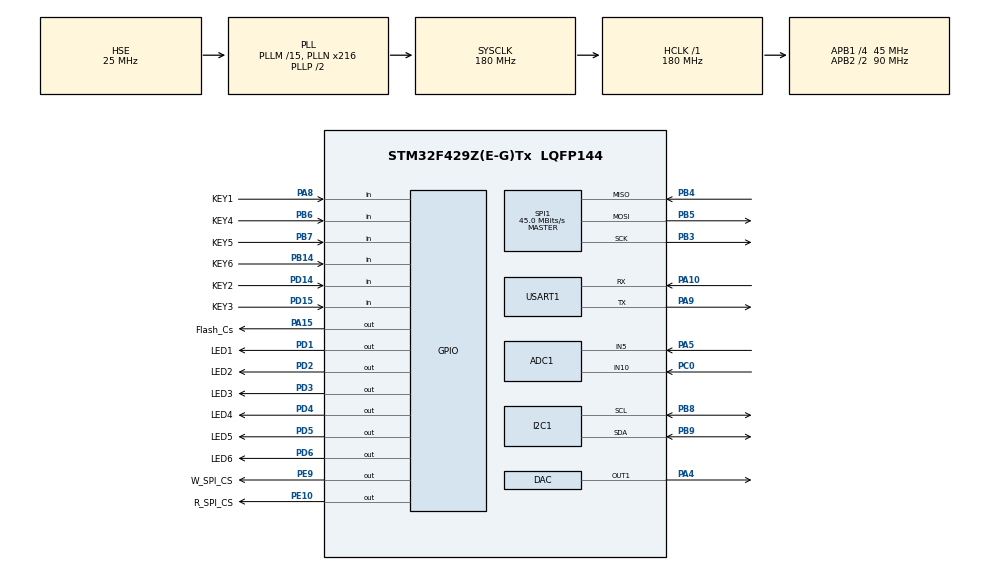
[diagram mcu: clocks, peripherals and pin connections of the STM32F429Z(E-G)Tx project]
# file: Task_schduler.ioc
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ADC1.Channel-1\#ChannelRegularConversion=ADC_CHANNEL_10
ADC1.Channel-2\#ChannelRegularConversion=ADC_CHANNEL_5
ADC1.ContinuousConvMode=DISABLE
ADC1.DMAContinuousRequests=DISABLE
ADC1.ExternalTrigConv=ADC_EXTERNALTRIGCONV_T3_TRGO
ADC1.InjNumberOfConversion=0
ADC1.NbrOfConversion=2
ADC1.NbrOfConversionFlag=1
ADC1.Rank-1\#ChannelRegularConversion=1
ADC1.Rank-2\#ChannelRegularConversion=2
ADC1.SamplingTime-1\#ChannelRegularConversion=ADC_SAMPLETIME_3CYCLES
ADC1.SamplingTime-2\#ChannelRegularConversion=ADC_SAMPLETIME_3CYCLES
ADC1.master=1
DAC.DAC_Trigger=DAC_TRIGGER_T6_TRGO
Dma.ADC1.1.Direction=DMA_PERIPH_TO_MEMORY
Dma.ADC1.1.FIFOMode=DMA_FIFOMODE_DISABLE
Dma.ADC1.1.Instance=DMA2_Stream0
Dma.ADC1.1.MemDataAlignment=DMA_MDATAALIGN_WORD
Dma.ADC1.1.MemInc=DMA_MINC_ENABLE
Dma.ADC1.1.Mode=DMA_NORMAL
Dma.ADC1.1.PeriphDataAlignment=DMA_PDATAALIGN_WORD
Dma.ADC1.1.PeriphInc=DMA_PINC_DISABLE
Dma.ADC1.1.Priority=DMA_PRIORITY_MEDIUM
Dma.DAC1.2.Direction=DMA_MEMORY_TO_PERIPH
Dma.DAC1.2.FIFOMode=DMA_FIFOMODE_DISABLE
Dma.DAC1.2.Instance=DMA1_Stream5
Dma.DAC1.2.MemDataAlignment=DMA_MDATAALIGN_HALFWORD
Dma.DAC1.2.MemInc=DMA_MINC_ENABLE
Dma.DAC1.2.Mode=DMA_CIRCULAR
Dma.DAC1.2.PeriphDataAlignment=DMA_PDATAALIGN_HALFWORD
Dma.DAC1.2.PeriphInc=DMA_PINC_DISABLE
Dma.DAC1.2.Priority=DMA_PRIORITY_HIGH
Dma.Request0=USART1_RX
Dma.Request1=ADC1
Dma.Request2=DAC1
Dma.USART1_RX.0.Direction=DMA_PERIPH_TO_MEMORY
Dma.USART1_RX.0.FIFOMode=DMA_FIFOMODE_DISABLE
Dma.USART1_RX.0.Instance=DMA2_Stream2
Dma.USART1_RX.0.MemDataAlignment=DMA_MDATAALIGN_BYTE
Dma.USART1_RX.0.MemInc=DMA_MINC_ENABLE
Dma.USART1_RX.0.Mode=DMA_NORMAL
Dma.USART1_RX.0.PeriphDataAlignment=DMA_PDATAALIGN_BYTE
Dma.USART1_RX.0.PeriphInc=DMA_PINC_DISABLE
Dma.USART1_RX.0.Priority=DMA_PRIORITY_HIGH
I2C1.I2C_Mode=I2C_Fast
Mcu.Family=STM32F4
Mcu.Name=STM32F429Z(E-G)Tx
Mcu.Package=LQFP144
NVIC.ADC_IRQn=true\:0\:0\:false\:false\:true\:true\:true\:true
NVIC.DMA1_Stream5_IRQn=true\:0\:0\:false\:false\:true\:false\:true\:true
NVIC.DMA2_Stream0_IRQn=true\:0\:0\:false\:false\:true\:false\:true\:true
NVIC.DMA2_Stream2_IRQn=true\:0\:0\:false\:false\:true\:false\:true\:true
NVIC.PriorityGroup=NVIC_PRIORITYGROUP_4
NVIC.TIM2_IRQn=true\:0\:0\:false\:false\:true\:true\:true\:true
NVIC.TIM4_IRQn=true\:0\:0\:false\:false\:true\:true\:true\:true
NVIC.USART1_IRQn=true\:0\:0\:false\:false\:true\:true\:true\:true
PA10.Mode=Asynchronous
PA10.Signal=USART1_RX
PA15.GPIO_Label=Flash_Cs
PA15.GPIO_Speed=GPIO_SPEED_FREQ_HIGH
PA15.PinState=GPIO_PIN_SET
PA15.Signal=GPIO_Output
PA4.Signal=COMP_DAC1_group
PA5.Signal=ADCx_IN5
PA8.GPIO_Label=KEY1
PA8.GPIO_PuPd=GPIO_PULLUP
PA8.Signal=GPIO_Input
PA9.Mode=Asynchronous
PA9.Signal=USART1_TX
PB14.GPIO_Label=KEY6
PB14.GPIO_PuPd=GPIO_PULLUP
PB14.Signal=GPIO_Input
PB3.Mode=Full_Duplex_Master
PB3.Signal=SPI1_SCK
PB4.Mode=Full_Duplex_Master
PB4.Signal=SPI1_MISO
PB5.Mode=Full_Duplex_Master
PB5.Signal=SPI1_MOSI
PB6.GPIO_Label=KEY4
PB6.GPIO_PuPd=GPIO_PULLUP
PB6.Signal=GPIO_Input
PB7.GPIO_Label=KEY5
PB7.GPIO_PuPd=GPIO_PULLUP
PB7.Signal=GPIO_Input
PB8.GPIO_Pu=GPIO_PULLUP
PB8.Mode=I2C
PB8.Signal=I2C1_SCL
PB9.GPIO_Pu=GPIO_PULLUP
PB9.Mode=I2C
PB9.Signal=I2C1_SDA
PC0.Signal=ADCx_IN10
PC14/OSC32_IN.Mode=LSE-External-Oscillator
PC14/OSC32_IN.Signal=RCC_OSC32_IN
PC15/OSC32_OUT.Mode=LSE-External-Oscillator
PC15/OSC32_OUT.Signal=RCC_OSC32_OUT
PD1.GPIO_Label=LED1
PD1.PinState=GPIO_PIN_RESET
PD1.Signal=GPIO_Output
PD14.GPIO_Label=KEY2
PD14.GPIO_PuPd=GPIO_PULLUP
PD14.Signal=GPIO_Input
PD15.GPIO_Label=KEY3
PD15.GPIO_PuPd=GPIO_PULLUP
PD15.Signal=GPIO_Input
PD2.GPIO_Label=LED2
PD2.PinState=GPIO_PIN_RESET
PD2.Signal=GPIO_Output
PD3.GPIO_Label=LED3
PD3.PinState=GPIO_PIN_RESET
PD3.Signal=GPIO_Output
PD4.GPIO_Label=LED4
PD4.PinState=GPIO_PIN_RESET
PD4.Signal=GPIO_Output
PD5.GPIO_Label=LED5
PD5.PinState=GPIO_PIN_RESET
PD5.Signal=GPIO_Output
PD6.GPIO_Label=LED6
PD6.PinState=GPIO_PIN_RESET
PD6.Signal=GPIO_Output
PE10.GPIO_Label=R_SPI_CS
PE10.GPIO_Speed=GPIO_SPEED_FREQ_HIGH
PE10.PinState=GPIO_PIN_SET
PE10.Signal=GPIO_Output
PE9.GPIO_Label=W_SPI_CS
PE9.GPIO_Speed=GPIO_SPEED_FREQ_HIGH
PE9.PinState=GPIO_PIN_SET
PE9.Signal=GPIO_Output
PH0/OSC_IN.Mode=HSE-External-Oscillator
PH0/OSC_IN.Signal=RCC_OSC_IN
PH1/OSC_OUT.Mode=HSE-External-Oscillator
PH1/OSC_OUT.Signal=RCC_OSC_OUT
ProjectManager.HeapSize=0x200
ProjectManager.StackSize=0x400
ProjectManager.TargetToolchain=MDK-ARM V5.32
RCC.48MHZClocksFreq_Value=90000000
RCC.AHBFreq_Value=180000000
RCC.APB1CLKDivider=RCC_HCLK_DIV4
RCC.APB1Freq_Value=45000000
RCC.APB1TimFreq_Value=90000000
RCC.APB2CLKDivider=RCC_HCLK_DIV2
RCC.APB2Freq_Value=90000000
RCC.APB2TimFreq_Value=180000000
RCC.CortexFreq_Value=180000000
RCC.HCLKFreq_Value=180000000
RCC.HSE_VALUE=25000000
RCC.HSI_VALUE=16000000
RCC.PLLM=15
RCC.PLLN=216
RCC.PLLSourceVirtual=RCC_PLLSOURCE_HSE
RCC.SYSCLKFreq_VALUE=180000000
RCC.SYSCLKSource=RCC_SYSCLKSOURCE_PLLCLK
RCC.VCOOutputFreq_Value=360000000
RTC.Date=1
RTC.Format=RTC_FORMAT_BCD
RTC.Hours=1
RTC.Year=25
SH.ADCx_IN10.0=ADC1_IN10,IN10
SH.ADCx_IN5.0=ADC1_IN5,IN5
SH.COMP_DAC1_group.0=DAC_OUT1,DAC_OUT1
SPI1.CLKPhase=SPI_PHASE_2EDGE
SPI1.CLKPolarity=SPI_POLARITY_HIGH
SPI1.CalculateBaudRate=45.0 MBits/s
SPI1.Direction=SPI_DIRECTION_2LINES
SPI1.Mode=SPI_MODE_MASTER
SPI1.VirtualType=VM_MASTER
TIM2.CounterMode=TIM_COUNTERMODE_UP
TIM2.Period=59999
TIM2.Prescaler=29
TIM3.AutoReloadPreload=TIM_AUTORELOAD_PRELOAD_ENABLE
TIM3.Period=100-1
TIM3.Prescaler=180-1
TIM3.TIM_MasterOutputTrigger=TIM_TRGO_UPDATE
TIM3.TIM_MasterSlaveMode=TIM_MASTERSLAVEMODE_DISABLE
TIM4.AutoReloadPreload=TIM_AUTORELOAD_PRELOAD_ENABLE
TIM4.CounterMode=TIM_COUNTERMODE_UP
TIM4.Period=59999
TIM4.Prescaler=29
TIM6.AutoReloadPreload=TIM_AUTORELOAD_PRELOAD_ENABLE
TIM6.Period=100-1
TIM6.Prescaler=1800-1
TIM6.TIM_MasterOutputTrigger=TIM_TRGO_UPDATE
USART1.VirtualMode=VM_ASYNC
VP_RTC_VS_RTC_Activate.Mode=RTC_Enabled
VP_RTC_VS_RTC_Calendar.Mode=RTC_Calendar
VP_TIM2_VS_ClockSourceINT.Mode=Internal
VP_TIM3_VS_ClockSourceINT.Mode=Internal
VP_TIM4_VS_ClockSourceINT.Mode=Internal
VP_TIM6_VS_ClockSourceINT.Mode=Enable_Timer
board=custom

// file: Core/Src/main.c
/* USER CODE BEGIN Header */
/**
  ******************************************************************************
  * @file           : main.c
  * @brief          : Main program body
  ******************************************************************************
  * @attention
  *
  * Copyright (c) 2026 STMicroelectronics.
  * All rights reserved.
  *
  * This software is licensed under terms that can be found in the LICENSE file
  * in the root directory of this software component.
  * If no LICENSE file comes with this software, it is provided AS-IS.
  *
  ******************************************************************************
  */
/* USER CODE END Header */
#include "main.h"
#include "adc.h"
#include "dac.h"
#include "dma.h"
#include "i2c.h"
#include "rtc.h"
#include "spi.h"
#include "tim.h"
#include "usart.h"
#include "gpio.h"

/* USER CODE BEGIN Includes */
#include "mydefine.h"
/* USER CODE END Includes */

void SystemClock_Config(void);

int main(void)
{

  /* MCU Configuration--------------------------------------------------------*/

  /* Reset of all peripherals, Initializes the Flash interface and the Systick. */
  HAL_Init();

  /* Configure the system clock */
  SystemClock_Config();

  /* Initialize all configured peripherals */
  MX_GPIO_Init();
  MX_DMA_Init();
  MX_USART1_UART_Init();
  MX_ADC1_Init();
  MX_TIM3_Init();
  MX_DAC_Init();
  MX_TIM6_Init();
  MX_I2C1_Init();
  MX_TIM2_Init();
  MX_TIM4_Init();
  MX_SPI1_Init();
  MX_RTC_Init();
  /* USER CODE BEGIN 2 */
	adc_tim_dma_init();

	app_ebtn_init();
//	OLED_Init();
  /* u8g2 初始化*/
  // 1. Setup: 这是最关键的一步，它配置了 u8g2 实例。
  //    - 选择与硬件匹配的 setup 函数 (SSD1306, I2C, 128x32, Full Buffer)。
  //    - &u8g2: 指向要配置的 u8g2 结构体实例的指针。
  //    - U8G2_R0: 旋转设置。U8G2_R0=0°, U8G2_R1=90°, U8G2_R2=180°, U8G2_R3=270°。
  //    - u8x8_byte_hw_i2c: 指向你的硬件 I2C 字节传输回调函数的指针。
  //    - u8g2_gpio_and_delay_stm32: 指向你的 GPIO 和延时回调函数的指针。
  u8g2_Setup_ssd1306_i2c_128x32_univision_f(&u8g2, U8G2_R0, u8x8_byte_hw_i2c, u8g2_gpio_and_delay_stm32);
  //    - &u8g2: u8g2 结构体指针
  //    - U8G2_R0: 旋转设置 (0度)
  // 2. Init Display: 发送初始化序列到 OLED
  u8g2_InitDisplay(&u8g2);

  // 3. Set Power Save: 唤醒屏幕。
  //    - 参数 0 表示关闭省电模式 (屏幕亮起)。
  //    - 参数 1 表示进入省电模式 (屏幕熄灭)。
  u8g2_SetPowerSave(&u8g2, 0);

  // (可选) 4. Clear Display: 清空屏幕物理显存。
  //    - 这个函数会立即发送清屏命令到设备。
  //    - 注意与 `u8g2_ClearBuffer` 的区别，后者仅清空内存中的缓冲区。
  // u8g2_ClearDisplay(&u8g2);

  // ... 其他初始化 ...
	 // --- WouoUI 初始化 ---
  // 1. 选择默认UI (如果 WouoUI_user.c 中定义了多个 UI 实例)
  WouoUI_SelectDefaultUI();

  // 2. 绑定缓存刷新函数 (关键步骤)
  //    将你实现的 OLED_SendBuff 函数地址传递给 WouoUI 框架
  WouoUI_AttachSendBuffFun(OLED_SendBuff);

  // 3. 初始化用户菜单 (执行 WouoUI_user.c/h 中定义的菜单结构初始化)
  TestUI_Init(); // 函数名取决于用户文件，通常是初始化页面、列表项等
  // --- WouoUI 初始化完成 ---
	test_spi_flash();
	schduler_init();
	rt_ringbuffer_init(&uart_ringbuffer, ring_buffer, sizeof(ring_buffer)); // 初始化环形缓冲区
  HAL_UARTEx_ReceiveToIdle_DMA(&huart1, uart_rx_dma_buffer, sizeof(uart_rx_dma_buffer));
  __HAL_DMA_DISABLE_IT(&hdma_usart1_rx, DMA_IT_HT); //关闭半满中断
  /* USER CODE END 2 */

  /* Infinite loop */
  while (1)
  {

    /* USER CODE BEGIN 3 */
		schduler_run();
  }
  /* USER CODE END 3 */
}

void SystemClock_Config(void)
{
  RCC_OscInitTypeDef RCC_OscInitStruct = {0};
  RCC_ClkInitTypeDef RCC_ClkInitStruct = {0};

  /** Configure the main internal regulator output voltage
  */
  __HAL_RCC_PWR_CLK_ENABLE();
  __HAL_PWR_VOLTAGESCALING_CONFIG(PWR_REGULATOR_VOLTAGE_SCALE1);

  /** Initializes the RCC Oscillators according to the specified parameters
  * in the RCC_OscInitTypeDef structure.
  */
  RCC_OscInitStruct.OscillatorType = RCC_OSCILLATORTYPE_LSI|RCC_OSCILLATORTYPE_HSE;
  RCC_OscInitStruct.HSEState = RCC_HSE_ON;
  RCC_OscInitStruct.LSIState = RCC_LSI_ON;
  RCC_OscInitStruct.PLL.PLLState = RCC_PLL_ON;
  RCC_OscInitStruct.PLL.PLLSource = RCC_PLLSOURCE_HSE;
  RCC_OscInitStruct.PLL.PLLM = 15;
  RCC_OscInitStruct.PLL.PLLN = 216;
  RCC_OscInitStruct.PLL.PLLP = RCC_PLLP_DIV2;
  RCC_OscInitStruct.PLL.PLLQ = 4;
  if (HAL_RCC_OscConfig(&RCC_OscInitStruct) != HAL_OK)
  {
    Error_Handler();
  }

  /** Activate the Over-Drive mode
  */
  if (HAL_PWREx_EnableOverDrive() != HAL_OK)
  {
    Error_Handler();
  }

  /** Initializes the CPU, AHB and APB buses clocks
  */
  RCC_ClkInitStruct.ClockType = RCC_CLOCKTYPE_HCLK|RCC_CLOCKTYPE_SYSCLK
                              |RCC_CLOCKTYPE_PCLK1|RCC_CLOCKTYPE_PCLK2;
  RCC_ClkInitStruct.SYSCLKSource = RCC_SYSCLKSOURCE_PLLCLK;
  RCC_ClkInitStruct.AHBCLKDivider = RCC_SYSCLK_DIV1;
  RCC_ClkInitStruct.APB1CLKDivider = RCC_HCLK_DIV4;
  RCC_ClkInitStruct.APB2CLKDivider = RCC_HCLK_DIV2;

  if (HAL_RCC_ClockConfig(&RCC_ClkInitStruct, FLASH_LATENCY_5) != HAL_OK)
  {
    Error_Handler();
  }
}

void Error_Handler(void)
{
  __disable_irq();
  while (1)
  {
  }
}
